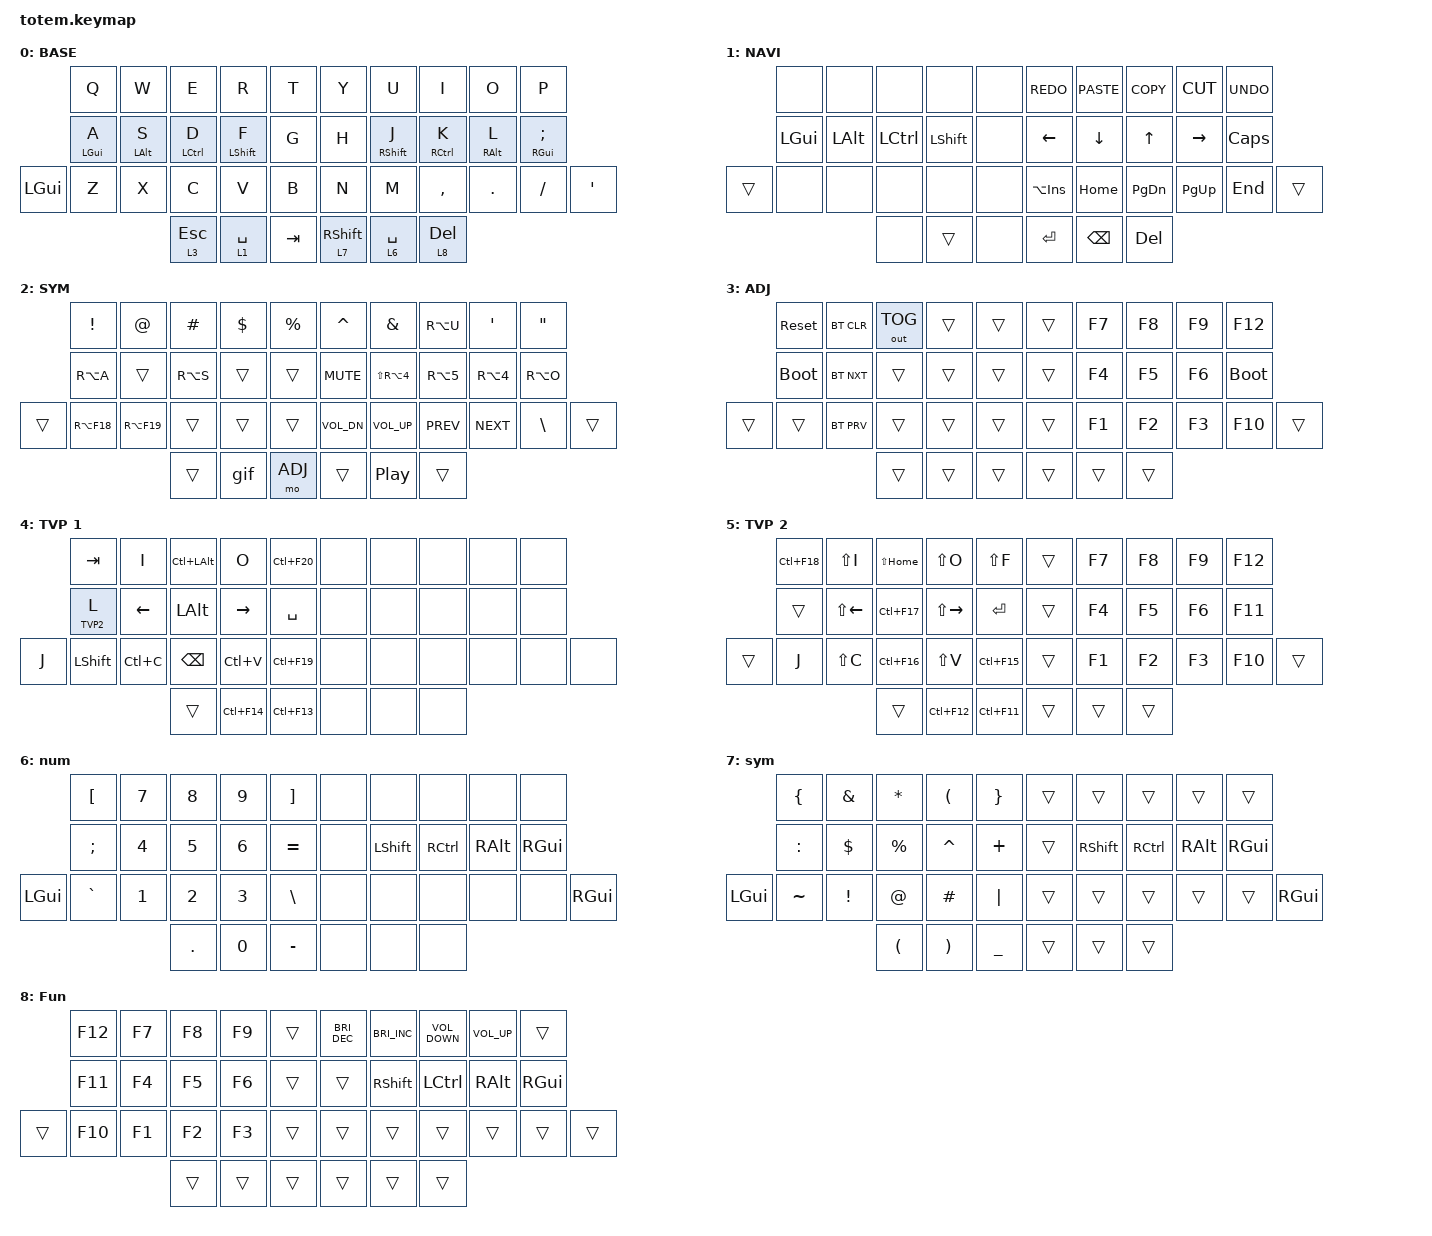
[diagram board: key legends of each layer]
//
//                                                        ▀▀▀▀▀     ▀▀▀▀▀          ▀▀█▀▀
//                                                        ▄▀▀▀▄  ▄  ▄▀▀▀▄  ▄  ▄▀▀▀▄  █  ▄▀▀▀▄
//                                                        █   █  █  █   █  █  █   █  █  █   █
//                                                         ▀▀▀   █   ▀▀▀   █   ▀▀▀   ▀   ▀▀▀
//                                                               █      ▄▄▄█▄▄▄    █   █  
//                                                               ▀      █  █  █     █▄█
//                                                             ▀▀▀▀▀    █  █  █      ▀
//                                                                      ▀  ▀  ▀
//
// ▄▄▄▄▄▄▄▄▄▄▄▄▄▄▄▄▄▄▄▄▄▄▄▄▄▄▄▄▄▄▄▄▄▄▄▄▄▄▄▄▄▄▄▄▄▄▄▄▄▄▄▄▄▄▄▄▄▄▄▄▄▄▄▄▄▄▄▄▄▄▄▄▄▄▄▄▄▄▄▄▄▄▄▄▄▄▄▄▄▄▄▄▄▄▄▄▄▄▄▄▄▄▄▄▄▄▄▄▄▄▄▄▄▄▄▄▄▄▄▄▄▄▄▄▄▄▄▄▄▄▄▄▄▄▄▄▄▄▄▄▄▄▄▄▄▄▄▄▄

#include <behaviors.dtsi>
#include <dt-bindings/zmk/bt.h>
#include <dt-bindings/zmk/keys.h>
#include <dt-bindings/zmk/outputs.h>

#define BASE 0
#define NAV  1
#define SYM  2
#define ADJ  3
#define TVP1 4
#define TVP2 5

&mt {
    quick-tap-ms = <100>;
    global-quick-tap;
    flavor = "tap-preferred";
    tapping-term-ms = <170>;
};

/ {
    combos {
        compatible = "zmk,combos";

        combo_esc {
            timeout-ms = <50>;
            key-positions = <0 1>;
            bindings = <&kp ESC>;
        };

        spotligh_left {
            bindings = <&kp LG(SPACE)>;
            key-positions = <1 2 3>;
        };

        spotlight_right {
            bindings = <&kp RG(SPACE)>;
            key-positions = <6 7 8>;
        };

        copy {
            bindings = <&kp LG(C)>;
            key-positions = <22 23>;
        };

        paste {
            bindings = <&kp LG(V)>;
            key-positions = <23 24>;
        };

        enter_combo {
            bindings = <&kp ENTER>;
            key-positions = <16 17 18>;
        };

        backspace_combo {
            bindings = <&kp BACKSPACE>;
            key-positions = <8 9>;
        };
    };

    macros {
        gif: gif {
            label = "giphy";
            compatible = "zmk,behavior-macro";
            #binding-cells = <0>;
            bindings =
                <&macro_press>,
                <&kp LSHFT>,
                <&macro_tap>,
                <&kp N2>,
                <&macro_release>,
                <&kp LSHFT>,
                <&macro_tap>,
                <&kp G &kp I &kp F>;
        };
    };

    keymap {
        compatible = "zmk,keymap";

        // ▄▄▄▄▄▄▄▄▄▄▄▄▄▄▄▄▄▄▄▄▄▄▄▄▄▄▄▄▄▄▄▄▄▄▄▄▄▄▄▄▄▄▄▄▄▄▄▄▄▄▄▄▄▄▄▄▄▄▄▄▄▄▄▄▄▄▄▄▄▄▄▄▄▄▄▄▄▄▄▄▄▄▄▄▄▄▄▄▄▄▄▄▄▄▄▄▄▄▄▄▄▄▄▄▄▄▄▄▄▄▄▄▄▄▄▄▄▄▄▄▄▄▄▄▄▄▄▄▄▄▄▄▄▄▄▄▄▄▄▄▄▄▄▄▄▄▄▄▄

        base_layer {
            // ┏━━━━━━━━━━━━━━━━━━━━━━━━━━━━━━━━━━━━━━━┓

            label = "BASE";

            // ┗━━━━━━━━━━━━━━━━━━━━━━━━━━━━━━━━━━━━━━━┛
            //             ┏━━━━━━━━━━━┳━━━━━━━━━━━┳━━━━━━━━━━━┳━━━━━━━━━━━┳━━━━━━━━━━━┓   ┏━━━━━━━━━━━┳━━━━━━━━━━━┳━━━━━━━━━━━┳━━━━━━━━━━━┳━━━━━━━━━━━┓
            //             ┃     Q     ┃     W     ┃     F     ┃     P     ┃     G     ┃   ┃     J     ┃     L     ┃     U     ┃     Y     ┃     ;     ┃
            //             ┣━━━━━━━━━━━╋━━━━━━━━━━━╋━━━━━━━━━━━╋━━━━━━━━━━━╋━━━━━━━━━━━┫   ┣━━━━━━━━━━━╋━━━━━━━━━━━╋━━━━━━━━━━━╋━━━━━━━━━━━╋━━━━━━━━━━━┫
            //             ┃     A     ┃     R     ┃     S     ┃     T     ┃     D     ┃   ┃     H     ┃     N     ┃     E     ┃     I     ┃     O     ┃
            // ┏━━━━━━━━━━━╋━━━━━━━━━━━╋━━━━━━━━━━━╋━━━━━━━━━━━╋━━━━━━━━━━━╋━━━━━━━━━━━┫   ┣━━━━━━━━━━━╋━━━━━━━━━━━╋━━━━━━━━━━━╋━━━━━━━━━━━╋━━━━━━━━━━━╋━━━━━━━━━━━┓
            // ┃     Q     ┃     Z     ┃     X     ┃     C     ┃     V     ┃     B     ┃   ┃     K     ┃     M     ┃     ,     ┃     .     ┃     /     ┃     \     ┃
            // ┗━━━━━━━━━━━┻━━━━━━━━━━━┻━━━━━━━━━━━╋━━━━━━━━━━━╋━━━━━━━━━━━╋━━━━━━━━━━━┫   ┣━━━━━━━━━━━╋━━━━━━━━━━━╋━━━━━━━━━━━╋━━━━━━━━━━━┻━━━━━━━━━━━┻━━━━━━━━━━━┛
            //                                     ┃    DEL    ┃    TAB    ┃    SPC    ┃   ┃   ENTER   ┃           ┃   BSPC    ┃
            //                                     ┗━━━━━━━━━━━┻━━━━━━━━━━━┻━━━━━━━━━━━┛   ┗━━━━━━━━━━━┻━━━━━━━━━━━┻━━━━━━━━━━━┛

            bindings = <
              &kp Q           &kp W       &kp E        &kp R        &kp T      &kp Y              &kp U        &kp I        &kp O       &kp P
              &mt LEFT_GUI A  &mt LALT S  &mt LCTRL D  &mt LSHFT F  &kp G      &kp H              &mt RSHFT J  &mt RCTRL K  &mt RALT L  &mt RGUI SEMICOLON
&kp LEFT_GUI  &kp Z           &kp X       &kp C        &kp V        &kp B      &kp N              &kp M        &kp COMMA    &kp DOT     &kp FSLH            &kp SQT
                                          &lt 3 ESC    &lt 1 SPACE  &kp TAB    &lt 7 RIGHT_SHIFT  &lt 6 SPACE  &lt 8 DEL
            >;
        };

        // ▄▄▄▄▄▄▄▄▄▄▄▄▄▄▄▄▄▄▄▄▄▄▄▄▄▄▄▄▄▄▄▄▄▄▄▄▄▄▄▄▄▄▄▄▄▄▄▄▄▄▄▄▄▄▄▄▄▄▄▄▄▄▄▄▄▄▄▄▄▄▄▄▄▄▄▄▄▄▄▄▄▄▄▄▄▄▄▄▄▄▄▄▄▄▄▄▄▄▄▄▄▄▄▄▄▄▄▄▄▄▄▄▄▄▄▄▄▄▄▄▄▄▄▄▄▄▄▄▄▄▄▄▄▄▄▄▄▄▄▄▄▄▄▄▄▄▄▄▄

        nav_layer {
            // ┏━━━━━━━━━━━━━━━━━━━━━━━━━━━━━━━━━━━━━━━┓

            label = "NAVI";

            // ┗━━━━━━━━━━━━━━━━━━━━━━━━━━━━━━━━━━━━━━━┛
            //             ┏━━━━━━━━━━━┳━━━━━━━━━━━┳━━━━━━━━━━━┳━━━━━━━━━━━┳━━━━━━━━━━━┓   ┏━━━━━━━━━━━┳━━━━━━━━━━━┳━━━━━━━━━━━┳━━━━━━━━━━━┳━━━━━━━━━━━┓
            //             ┃           ┃           ┃     UP    ┃           ┃     {     ┃   ┃     }     ┃     7     ┃     8     ┃     9     ┃     +     ┃
            //             ┣━━━━━━━━━━━╋━━━━━━━━━━━╋━━━━━━━━━━━╋━━━━━━━━━━━╋━━━━━━━━━━━┫   ┣━━━━━━━━━━━╋━━━━━━━━━━━╋━━━━━━━━━━━╋━━━━━━━━━━━╋━━━━━━━━━━━┫
            //             ┃   SHIFT   ┃   LEFT    ┃    DOWN   ┃   RIGHT   ┃     [     ┃   ┃     ]     ┃     4     ┃     5     ┃     6     ┃     -     ┃
            // ┏━━━━━━━━━━━╋━━━━━━━━━━━╋━━━━━━━━━━━╋━━━━━━━━━━━╋━━━━━━━━━━━╋━━━━━━━━━━━┫   ┣━━━━━━━━━━━╋━━━━━━━━━━━╋━━━━━━━━━━━╋━━━━━━━━━━━╋━━━━━━━━━━━╋━━━━━━━━━━━┓
            // ┃           ┃           ┃   P UP    ┃  C LOCK   ┃  P DOWN   ┃     (     ┃   ┃     )     ┃     1     ┃     2     ┃     3     ┃     *     ┃           ┃
            // ┗━━━━━━━━━━━┻━━━━━━━━━━━┻━━━━━━━━━━━╋━━━━━━━━━━━╋━━━━━━━━━━━╋━━━━━━━━━━━┫   ┣━━━━━━━━━━━╋━━━━━━━━━━━╋━━━━━━━━━━━╋━━━━━━━━━━━┻━━━━━━━━━━━┻━━━━━━━━━━━┛
            //                                     ┃           ┃    TAB    ┃    SPC    ┃   ┃    DEL    ┃     0     ┃           ┃
            //                                     ┗━━━━━━━━━━━┻━━━━━━━━━━━┻━━━━━━━━━━━┛   ┗━━━━━━━━━━━┻━━━━━━━━━━━┻━━━━━━━━━━━┛

            bindings = <
        &none     &none         &none             &none           &none    &kp K_REDO      &kp K_PASTE     &kp K_COPY     &kp K_CUT        &kp K_UNDO
        &kp LGUI  &kp LEFT_ALT  &kp LEFT_CONTROL  &kp LEFT_SHIFT  &none    &kp LEFT_ARROW  &kp DOWN_ARROW  &kp UP_ARROW   &kp RIGHT_ARROW  &kp CAPS
&trans  &none     &none         &none             &none           &none    &kp LA(INSERT)  &kp HOME        &kp PAGE_DOWN  &kp PG_UP        &kp END     &trans
                                &none             &trans          &none    &kp ENTER       &kp BACKSPACE   &kp DELETE
            >;
        };

        // ▄▄▄▄▄▄▄▄▄▄▄▄▄▄▄▄▄▄▄▄▄▄▄▄▄▄▄▄▄▄▄▄▄▄▄▄▄▄▄▄▄▄▄▄▄▄▄▄▄▄▄▄▄▄▄▄▄▄▄▄▄▄▄▄▄▄▄▄▄▄▄▄▄▄▄▄▄▄▄▄▄▄▄▄▄▄▄▄▄▄▄▄▄▄▄▄▄▄▄▄▄▄▄▄▄▄▄▄▄▄▄▄▄▄▄▄▄▄▄▄▄▄▄▄▄▄▄▄▄▄▄▄▄▄▄▄▄▄▄▄▄▄▄▄▄▄▄▄▄

        sim_layer {
            // ┏━━━━━━━━━━━━━━━━━━━━━━━━━━━━━━━━━━━━━━━┓

            label = "SYM";

            // ┗━━━━━━━━━━━━━━━━━━━━━━━━━━━━━━━━━━━━━━━┛
            //             ┏━━━━━━━━━━━┳━━━━━━━━━━━┳━━━━━━━━━━━┳━━━━━━━━━━━┳━━━━━━━━━━━┓   ┏━━━━━━━━━━━┳━━━━━━━━━━━┳━━━━━━━━━━━┳━━━━━━━━━━━┳━━━━━━━━━━━┓
            //             ┃     !     ┃     @     ┃     #     ┃     $     ┃     %     ┃   ┃     ˆ     ┃     &     ┃     Ü     ┃     '     ┃     "     ┃
            //             ┣━━━━━━━━━━━╋━━━━━━━━━━━╋━━━━━━━━━━━╋━━━━━━━━━━━╋━━━━━━━━━━━┫   ┣━━━━━━━━━━━╋━━━━━━━━━━━╋━━━━━━━━━━━╋━━━━━━━━━━━╋━━━━━━━━━━━┫
            //             ┃     Ä     ┃           ┃    SZ     ┃           ┃           ┃   ┃   MUTE    ┃   YEN     ┃   EURO    ┃  POUND    ┃     Ö     ┃
            // ┏━━━━━━━━━━━╋━━━━━━━━━━━╋━━━━━━━━━━━╋━━━━━━━━━━━╋━━━━━━━━━━━╋━━━━━━━━━━━┫   ┣━━━━━━━━━━━╋━━━━━━━━━━━╋━━━━━━━━━━━╋━━━━━━━━━━━╋━━━━━━━━━━━╋━━━━━━━━━━━┓
            // ┃           ┃  EMAIL1   ┃  EMAIL2   ┃           ┃           ┃           ┃   ┃   VOL-    ┃   VOL+    ┃   LAST    ┃   NEXT    ┃     \     ┃           ┃
            // ┗━━━━━━━━━━━┻━━━━━━━━━━━┻━━━━━━━━━━━╋━━━━━━━━━━━╋━━━━━━━━━━━╋━━━━━━━━━━━┫   ┣━━━━━━━━━━━╋━━━━━━━━━━━╋━━━━━━━━━━━╋━━━━━━━━━━━┻━━━━━━━━━━━┻━━━━━━━━━━━┛
            //                                     ┃           ┃    GIF    ┃    ADJ    ┃   ┃           ┃           ┃           ┃
            //                                     ┗━━━━━━━━━━━┻━━━━━━━━━━━┻━━━━━━━━━━━┛   ┗━━━━━━━━━━━┻━━━━━━━━━━━┻━━━━━━━━━━━┛

            bindings = <
        &kp EXCL     &kp AT       &kp HASH   &kp DLLR  &kp PRCNT    &kp CARET     &kp AMPS        &kp RA(U)   &kp SQT     &kp DQT
        &kp RA(A)    &trans       &kp RA(S)  &trans    &trans       &kp C_MUTE    &kp LS(RA(N4))  &kp RA(N5)  &kp RA(N4)  &kp RA(O)
&trans  &kp RA(F18)  &kp RA(F19)  &trans     &trans    &trans       &kp C_VOL_DN  &kp C_VOL_UP    &kp C_PREV  &kp C_NEXT  &kp BSLH   &trans
                                  &trans     &gif      &mo ADJ      &trans        &kp C_PP        &trans
            >;
        };

        // ▄▄▄▄▄▄▄▄▄▄▄▄▄▄▄▄▄▄▄▄▄▄▄▄▄▄▄▄▄▄▄▄▄▄▄▄▄▄▄▄▄▄▄▄▄▄▄▄▄▄▄▄▄▄▄▄▄▄▄▄▄▄▄▄▄▄▄▄▄▄▄▄▄▄▄▄▄▄▄▄▄▄▄▄▄▄▄▄▄▄▄▄▄▄▄▄▄▄▄▄▄▄▄▄▄▄▄▄▄▄▄▄▄▄▄▄▄▄▄▄▄▄▄▄▄▄▄▄▄▄▄▄▄▄▄▄▄▄▄▄▄▄▄▄▄▄▄▄▄

        adjust_layer {
            // ┏━━━━━━━━━━━━━━━━━━━━━━━━━━━━━━━━━━━━━━━┓

            label = "ADJ";

            // ┗━━━━━━━━━━━━━━━━━━━━━━━━━━━━━━━━━━━━━━━┛
            //             ┏━━━━━━━━━━━┳━━━━━━━━━━━┳━━━━━━━━━━━┳━━━━━━━━━━━┳━━━━━━━━━━━┓   ┏━━━━━━━━━━━┳━━━━━━━━━━━┳━━━━━━━━━━━┳━━━━━━━━━━━┳━━━━━━━━━━━┓
            //             ┃   RESET   ┃ BT CLEAR  ┃  OUT TOG  ┃           ┃           ┃   ┃           ┃    F7     ┃    F8     ┃    F9     ┃    F12    ┃
            //             ┣━━━━━━━━━━━╋━━━━━━━━━━━╋━━━━━━━━━━━╋━━━━━━━━━━━╋━━━━━━━━━━━┫   ┣━━━━━━━━━━━╋━━━━━━━━━━━╋━━━━━━━━━━━╋━━━━━━━━━━━╋━━━━━━━━━━━┫
            //             ┃ BOOTLOAD  ┃ BT NEXT   ┃           ┃           ┃           ┃   ┃           ┃    F4     ┃    F5     ┃    F6     ┃    F11    ┃
            // ┏━━━━━━━━━━━╋━━━━━━━━━━━╋━━━━━━━━━━━╋━━━━━━━━━━━╋━━━━━━━━━━━╋━━━━━━━━━━━┫   ┣━━━━━━━━━━━╋━━━━━━━━━━━╋━━━━━━━━━━━╋━━━━━━━━━━━╋━━━━━━━━━━━╋━━━━━━━━━━━┓
            // ┃           ┃           ┃ BT PREV   ┃           ┃           ┃           ┃   ┃           ┃    F1     ┃    F2     ┃    F3     ┃    F10    ┃           ┃
            // ┗━━━━━━━━━━━┻━━━━━━━━━━━┻━━━━━━━━━━━╋━━━━━━━━━━━╋━━━━━━━━━━━╋━━━━━━━━━━━┫   ┣━━━━━━━━━━━╋━━━━━━━━━━━╋━━━━━━━━━━━╋━━━━━━━━━━━┻━━━━━━━━━━━┻━━━━━━━━━━━┛
            //                                     ┃           ┃           ┃           ┃   ┃           ┃           ┃           ┃
            //                                     ┗━━━━━━━━━━━┻━━━━━━━━━━━┻━━━━━━━━━━━┛   ┗━━━━━━━━━━━┻━━━━━━━━━━━┻━━━━━━━━━━━┛

            bindings = <
        &sys_reset   &bt BT_CLR  &out OUT_TOG  &trans  &trans    &trans  &kp F7  &kp F8  &kp F9  &kp F12
        &bootloader  &bt BT_NXT  &trans        &trans  &trans    &trans  &kp F4  &kp F5  &kp F6  &bootloader
&trans  &trans       &bt BT_PRV  &trans        &trans  &trans    &trans  &kp F1  &kp F2  &kp F3  &kp F10      &trans
                                 &trans        &trans  &trans    &trans  &trans  &trans
            >;
        };

        // ▄▄▄▄▄▄▄▄▄▄▄▄▄▄▄▄▄▄▄▄▄▄▄▄▄▄▄▄▄▄▄▄▄▄▄▄▄▄▄▄▄▄▄▄▄▄▄▄▄▄▄▄▄▄▄▄▄▄▄▄▄▄▄▄▄▄▄▄▄▄▄▄▄▄▄▄▄▄▄▄▄▄▄▄▄▄▄▄▄▄▄▄▄▄▄▄▄▄▄▄▄▄▄▄▄▄▄▄▄▄▄▄▄▄▄▄▄▄▄▄▄▄▄▄▄▄▄▄▄▄▄▄▄▄▄▄▄▄▄▄▄▄▄▄▄▄▄▄▄

        tvp1_layer {
            // ┏━━━━━━━━━━━━━━━━━━━━━━━━━━━━━━━━━━━━━━━┓

            label = "TVP 1";

            // ┗━━━━━━━━━━━━━━━━━━━━━━━━━━━━━━━━━━━━━━━┛
            //             ┏━━━━━━━━━━━┳━━━━━━━━━━━┳━━━━━━━━━━━┳━━━━━━━━━━━┳━━━━━━━━━━━┓   ┏━━━━━━━━━━━┳━━━━━━━━━━━┳━━━━━━━━━━━┳━━━━━━━━━━━┳━━━━━━━━━━━┓
            //             ┃ NEXT FILE ┃ MARK IN   ┃ ROTATE    ┃ MARK OUT  ┃ SHOW SNAP ┃   ┃           ┃           ┃           ┃           ┃           ┃
            //             ┣━━━━━━━━━━━╋━━━━━━━━━━━╋━━━━━━━━━━━╋━━━━━━━━━━━╋━━━━━━━━━━━┫   ┣━━━━━━━━━━━╋━━━━━━━━━━━╋━━━━━━━━━━━╋━━━━━━━━━━━╋━━━━━━━━━━━┫
            //             ┃ TVP II    ┃ LEFT      ┃ PAN       ┃ RIGHT     ┃ PLAY/FLIP ┃   ┃           ┃           ┃           ┃           ┃           ┃
            // ┏━━━━━━━━━━━╋━━━━━━━━━━━╋━━━━━━━━━━━╋━━━━━━━━━━━╋━━━━━━━━━━━╋━━━━━━━━━━━┫   ┣━━━━━━━━━━━╋━━━━━━━━━━━╋━━━━━━━━━━━╋━━━━━━━━━━━╋━━━━━━━━━━━╋━━━━━━━━━━━┓
            // ┃ FULLSCR   ┃ SHIFT     ┃ COPY      ┃ DELETE    ┃ PASTE     ┃ IMG MARK  ┃   ┃           ┃           ┃           ┃           ┃           ┃           ┃
            // ┗━━━━━━━━━━━┻━━━━━━━━━━━┻━━━━━━━━━━━╋━━━━━━━━━━━╋━━━━━━━━━━━╋━━━━━━━━━━━┫   ┣━━━━━━━━━━━╋━━━━━━━━━━━╋━━━━━━━━━━━╋━━━━━━━━━━━┻━━━━━━━━━━━┻━━━━━━━━━━━┛
            //                                     ┃           ┃ UNDO/SAVE ┃  SEL/MOV  ┃   ┃           ┃           ┃           ┃
            //                                     ┗━━━━━━━━━━━┻━━━━━━━━━━━┻━━━━━━━━━━━┛   ┗━━━━━━━━━━━┻━━━━━━━━━━━┻━━━━━━━━━━━┛

            bindings = <
       &kp TAB     &kp I      &kp LC(LALT)  &kp O        &kp LC(F20)    &none  &none  &none  &none  &none
       &lt TVP2 L  &kp LEFT   &kp LALT      &kp RIGHT    &kp SPACE      &none  &none  &none  &none  &none
&kp J  &kp LSHFT   &kp LC(C)  &kp BSPC      &kp LC(V)    &kp LC(F19)    &none  &none  &none  &none  &none  &none
                              &trans        &kp LC(F14)  &kp LC(F13)    &none  &none  &none
            >;
        };

        // ▄▄▄▄▄▄▄▄▄▄▄▄▄▄▄▄▄▄▄▄▄▄▄▄▄▄▄▄▄▄▄▄▄▄▄▄▄▄▄▄▄▄▄▄▄▄▄▄▄▄▄▄▄▄▄▄▄▄▄▄▄▄▄▄▄▄▄▄▄▄▄▄▄▄▄▄▄▄▄▄▄▄▄▄▄▄▄▄▄▄▄▄▄▄▄▄▄▄▄▄▄▄▄▄▄▄▄▄▄▄▄▄▄▄▄▄▄▄▄▄▄▄▄▄▄▄▄▄▄▄▄▄▄▄▄▄▄▄▄▄▄▄▄▄▄▄▄▄▄

        tvp2_layer {
            // ┏━━━━━━━━━━━━━━━━━━━━━━━━━━━━━━━━━━━━━━━┓

            label = "TVP 2";

            // ┗━━━━━━━━━━━━━━━━━━━━━━━━━━━━━━━━━━━━━━━┛
            //             ┏━━━━━━━━━━━┳━━━━━━━━━━━┳━━━━━━━━━━━┳━━━━━━━━━━━┳━━━━━━━━━━━┓   ┏━━━━━━━━━━━┳━━━━━━━━━━━┳━━━━━━━━━━━┳━━━━━━━━━━━┳━━━━━━━━━━━┓
            //             ┃ SOLO      ┃ TOGGLE IN ┃ RESET ROT ┃ TOGGLE OUT┃ TAKE SNAP ┃   ┃           ┃           ┃           ┃           ┃           ┃
            //             ┣━━━━━━━━━━━╋━━━━━━━━━━━╋━━━━━━━━━━━╋━━━━━━━━━━━╋━━━━━━━━━━━┫   ┣━━━━━━━━━━━╋━━━━━━━━━━━╋━━━━━━━━━━━╋━━━━━━━━━━━╋━━━━━━━━━━━┫
            //             ┃ ---       ┃ LAST KEY  ┃ NEW KEY   ┃ NEXT KEY  ┃ ENTER     ┃   ┃           ┃           ┃           ┃           ┃           ┃
            // ┏━━━━━━━━━━━╋━━━━━━━━━━━╋━━━━━━━━━━━╋━━━━━━━━━━━╋━━━━━━━━━━━╋━━━━━━━━━━━┫   ┣━━━━━━━━━━━╋━━━━━━━━━━━╋━━━━━━━━━━━╋━━━━━━━━━━━╋━━━━━━━━━━━╋━━━━━━━━━━━┓
            // ┃           ┃ FULLSCR   ┃ CPY2BRUSH ┃ DEL HEAD  ┃ PSTinPLACE┃ BOOK MARK ┃   ┃           ┃           ┃           ┃           ┃           ┃           ┃
            // ┗━━━━━━━━━━━┻━━━━━━━━━━━┻━━━━━━━━━━━╋━━━━━━━━━━━╋━━━━━━━━━━━╋━━━━━━━━━━━┫   ┣━━━━━━━━━━━╋━━━━━━━━━━━╋━━━━━━━━━━━╋━━━━━━━━━━━┻━━━━━━━━━━━┻━━━━━━━━━━━┛
            //                                     ┃           ┃ REDO/SAV1 ┃TRANS/WARP ┃   ┃           ┃           ┃           ┃
            //                                     ┗━━━━━━━━━━━┻━━━━━━━━━━━┻━━━━━━━━━━━┛   ┗━━━━━━━━━━━┻━━━━━━━━━━━┻━━━━━━━━━━━┛

            bindings = <
        &kp LC(F18)  &kp LS(I)     &kp LS(HOME)  &kp LS(O)      &kp LS(F)      &trans  &kp F7  &kp F8  &kp F9  &kp F12
        &trans       &kp LS(LEFT)  &kp LC(F17)   &kp LS(RIGHT)  &kp RET        &trans  &kp F4  &kp F5  &kp F6  &kp F11
&trans  &kp J        &kp LS(C)     &kp LC(F16)   &kp LS(V)      &kp LC(F15)    &trans  &kp F1  &kp F2  &kp F3  &kp F10  &trans
                                   &trans        &kp LC(F12)    &kp LC(F11)    &trans  &trans  &trans
            >;
        };

        num {
            bindings = <
          &kp LBKT   &kp N7  &kp N8   &kp N9  &kp RBKT     &none  &none      &none      &none     &none
          &kp SEMI   &kp N4  &kp N5   &kp N6  &kp EQUAL    &none  &kp LSHFT  &kp RCTRL  &kp RALT  &kp RIGHT_GUI
&kp LGUI  &kp GRAVE  &kp N1  &kp N2   &kp N3  &kp BSLH     &none  &none      &none      &none     &none          &kp RGUI
                             &kp DOT  &kp N0  &kp MINUS    &none  &none      &none
            >;
        };

        sym {
            bindings = <
              &kp LEFT_BRACE  &kp AMPERSAND    &kp ASTERISK          &kp LEFT_PARENTHESIS   &kp RIGHT_BRACE    &trans  &trans           &trans             &trans         &trans
              &kp COLON       &kp DOLLAR       &kp PERCENT           &kp CARET              &kp PLUS           &trans  &kp RIGHT_SHIFT  &kp RIGHT_CONTROL  &kp RIGHT_ALT  &kp RIGHT_GUI
&kp LEFT_GUI  &kp TILDE       &kp EXCLAMATION  &kp AT_SIGN           &kp HASH               &kp PIPE           &trans  &trans           &trans             &trans         &trans         &kp RIGHT_GUI
                                               &kp LEFT_PARENTHESIS  &kp RIGHT_PARENTHESIS  &kp UNDERSCORE     &trans  &trans           &trans
            >;
        };

        Fun {
            bindings = <
        &kp F12  &kp F7  &kp F8  &kp F9  &trans    &kp C_BRIGHTNESS_DEC  &kp C_BRIGHTNESS_INC  &kp C_VOLUME_DOWN  &kp C_VOLUME_UP  &trans
        &kp F11  &kp F4  &kp F5  &kp F6  &trans    &trans                &kp RIGHT_SHIFT       &kp LCTRL          &kp RIGHT_ALT    &kp RGUI
&trans  &kp F10  &kp F1  &kp F2  &kp F3  &trans    &trans                &trans                &trans             &trans           &trans    &trans
                         &trans  &trans  &trans    &trans                &trans                &trans
            >;
        };
    };
};
